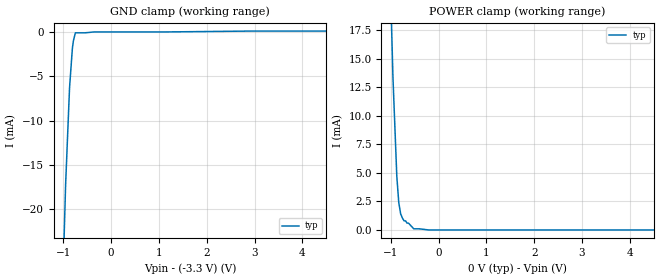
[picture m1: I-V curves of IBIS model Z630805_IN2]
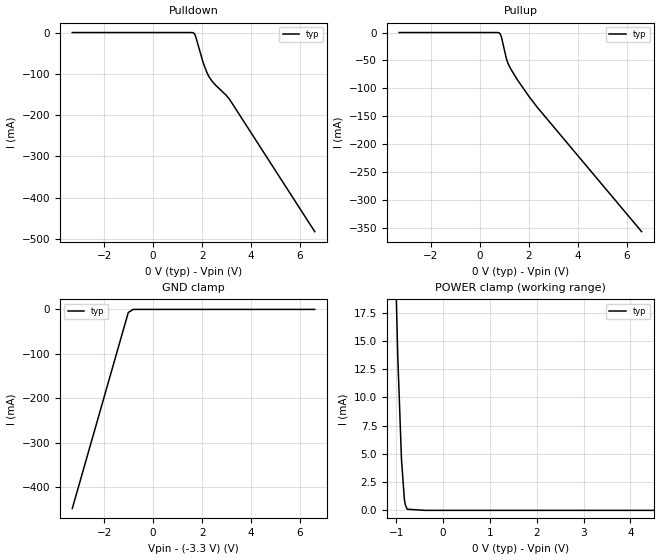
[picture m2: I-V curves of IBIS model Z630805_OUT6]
| YOU ARE ONLY AUTHORIZED TO USE THIS SOFTWARE
| ACCORDING TO LICENSOR'S LICENSE RESTRICTIONS.
[IBIS Ver] 3.1
[File Name] mc100ep116fa_-33.ibs
[File Rev] 1.0
[Source] Derived from MC10EP195 and mc10ep16d_33.ibs Measured
|   data by ICX Technology
[Date] 1/13/2004
[Copyright]
| (C) COPYRIGHT 1993-2001
| MENTOR GRAPHICS CORPORATION
| ICX STANDARD LIBRARY, ICX PROJECT MODELING,
| ICX CUSTOM MODELING, ICX VENDOR MODEL
| ALL RIGHTS RESERVED.
| THE FOLLOWING ARE TRADEMARKS OR SERVICE MARKS OF
| MENTOR GRAPHICS CORPORATION:ICX (R), ICX STANDARD
| LIBRARY(R), ICX PROJECT MODELING(R), ICX CUSTOM
| MODELING(R), qualityIBIS(TM), MODELVIEWER(TM),
| AND MODELEDITOR(TM)
| ALL COPIES OF SOFTWARE, INCLUDING BUT NOT LIMITED TO
| ANY MODIFICATIONS, ENHANCEMENTS OR DERIVATIVE WORKS,
| MUST CONTAIN ALL MENTOR GRAPHICS CORPORATION'S
| NOTICES AND LEGENDS, INCLUDING THOSE EMBEDDED IN
| SOFTWARE AND THOSE AFFIXED TO SOFTWARE MEDIUM
| AND CONTAINER, AS RECEIVED FROM MENTOR GRAPHICS
| CORPORATION.
|  ZAP Model Builder 3.1
[Component] MC100ep116FA_-33
[Manufacturer] On Semiconductor
[Package]
| variable   typ   min   max
R_pkg  .067ohms NA NA
L_pkg  4.211nH NA NA
C_pkg  1.07pF NA NA
[Pin] signal_name  model_name  R_pin  L_pin C_pin
1   D0 Z630805_IN2 .066 4.127n .978p
2  _D0 Z630805_IN2 .066 4.127n .978p
3  VBB POWER .069 4.455n 1.077p
4   Q0 Z630805_OUT6 .069 4.455n 1.077p
5  _Q0 Z630805_OUT6 .069 4.455n 1.077p
6   Q1 Z630805_OUT6 .069 4.455n 1.077p
7  _Q1 Z630805_OUT6 .069 4.455n 1.077p
8  VEE POWER .065 3.973n .928p
9  VCC POWER .069 4.455n 1.077p
10  Q2 Z630805_OUT6 .069 4.455n 1.077p
11 _Q2 Z630805_OUT6 .069 4.455n 1.077p
12 VCC POWER .069 4.455n 1.077p
13 VCC POWER .069 4.455n 1.077p
14  Q3 Z630805_OUT6 .069 4.455n 1.077p
15 _Q3 Z630805_OUT6 .069 4.455n 1.077p
16 VCC POWER .069 4.455n 1.077p
17 VCC POWER .069 4.455n 1.077p
18  Q4 Z630805_OUT6 .069 4.455n 1.077p
19 _Q4 Z630805_OUT6 .069 4.455n 1.077p
20  Q5 Z630805_IN2 .066 4.127n .978p
21 _Q5 Z630805_IN2 .066 4.127n .978p
22  D5 Z630805_IN2 .066 4.127n .978p
23 _D5 Z630805_IN2 .066 4.127n .978p
24  D4 Z630805_IN2 .066 4.127n .978p
25 _D4 Z630805_IN2 .066 4.127n .978p
26  D3 Z630805_IN2 .066 4.127n .978p
27 _D3 Z630805_IN2 .066 4.127n .978p
28 VCC POWER .069 4.455n 1.077p
29  D2 Z630805_IN2 .066 4.127n .978p
30 _D2 Z630805_IN2 .066 4.127n .978p
31  D1 Z630805_IN2 .066 4.127n .978p
32 _D1 Z630805_IN2 .066 4.127n .978p
[Diff Pin] inv_pin vdiff tdelay_typ tdelay_min tdelay_max
1 2 150mv NA NA NA
4 5 NA 0.260ns 0.160ns 0.340ns
6 7 NA 0.260ns 0.160ns 0.340ns
10 11 NA 0.260ns 0.160ns 0.340ns
14 15 NA 0.260ns 0.160ns 0.340ns
18 19 NA 0.260ns 0.160ns 0.340ns
20 21 NA 0.260ns 0.160ns 0.340ns
22 23 150mv NA NA NA
24 25 150mv NA NA NA
26 27 150mv NA NA NA
29 30 150mv NA NA NA
31 32 150mv NA NA NA
| Models and submodels in the file (2): Z630805_IN2 (Input_ECL), Z630805_OUT6 (Output_ECL)
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| (C) COPYRIGHT 1993-2001
| MENTOR GRAPHICS CORPORATION
| ICX STANDARD LIBRARY, ICX PROJECT MODELING,
| ICX CUSTOM MODELING, ICX VENDOR MODEL
| ALL RIGHTS RESERVED.
| THE FOLLOWING ARE TRADEMARKS OR SERVICE MARKS OF
| MENTOR GRAPHICS CORPORATION:ICX (R), ICX STANDARD
| LIBRARY(R), ICX PROJECT MODELING(R), ICX CUSTOM
| MODELING(R), qualityIBIS(TM), MODELVIEWER(TM),
| AND MODELEDITOR(TM)
| ALL COPIES OF SOFTWARE, INCLUDING BUT NOT LIMITED TO
| ANY MODIFICATIONS, ENHANCEMENTS OR DERIVATIVE WORKS,
| MUST CONTAIN ALL MENTOR GRAPHICS CORPORATION'S
| NOTICES AND LEGENDS, INCLUDING THOSE EMBEDDED IN
| SOFTWARE AND THOSE AFFIXED TO SOFTWARE MEDIUM
| AND CONTAINER, AS RECEIVED FROM MENTOR GRAPHICS
| CORPORATION.
| Model Application Version 1.89 2/18/99.
[Model] Z630805_IN2
Model_type Input_ECL
Vinl = -1.645V
Vinh = -1.225V
C_comp 2.00pF NA NA
| variable typ   min   max
[Voltage Range] -3.300V NA NA
[GND Clamp Reference] -3.300V NA NA
[POWER Clamp Reference] 0.000V NA NA
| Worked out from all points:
|   GND clamp passes 1 mA (typ) near -0.79 V on its own axis
|   POWER clamp passes 1 mA (typ) near -0.75 V on its own axis
[GND Clamp]
-3.3V     -459.2mA   NA         NA
-953mV    -17.2mA    NA         NA
-871mV    -6.3mA     NA         NA
-811mV    -1.8mA     NA         NA
-790mV    -1mA       NA         NA
-749.8mV  -100uA     NA         NA
-552.3mV  -100uA     NA         NA
-354.8mV  0A         NA         NA
1.136V    0A         NA         NA
2.96V     100uA      NA         NA
6.6V      100uA      NA         NA
[POWER Clamp]
-3.3V     452.1mA    NA         NA
-1.058V   29mA       NA         NA
-957mV    13.4mA     NA         NA
-876mV    4.7mA      NA         NA
-835mV    2.4mA      NA         NA
-795mV    1.4mA      NA         NA
-754mV    1mA        NA         NA
-723.5mV  800uA      NA         NA
-632mV    600uA      NA         NA
-520.5mV  100uA      NA         NA
-204.5mV  0A         NA         NA
6.6V      0A         NA         NA
| (C) COPYRIGHT 1993-2001
| MENTOR GRAPHICS CORPORATION
| ICX STANDARD LIBRARY, ICX PROJECT MODELING,
| ICX CUSTOM MODELING, ICX VENDOR MODEL
| ALL RIGHTS RESERVED.
| THE FOLLOWING ARE TRADEMARKS OR SERVICE MARKS OF
| MENTOR GRAPHICS CORPORATION:ICX (R), ICX STANDARD
| LIBRARY(R), ICX PROJECT MODELING(R), ICX CUSTOM
| MODELING(R), qualityIBIS(TM), MODELVIEWER(TM),
| AND MODELEDITOR(TM)
| ALL COPIES OF SOFTWARE, INCLUDING BUT NOT LIMITED TO
| ANY MODIFICATIONS, ENHANCEMENTS OR DERIVATIVE WORKS,
| MUST CONTAIN ALL MENTOR GRAPHICS CORPORATION'S
| NOTICES AND LEGENDS, INCLUDING THOSE EMBEDDED IN
| SOFTWARE AND THOSE AFFIXED TO SOFTWARE MEDIUM
| AND CONTAINER, AS RECEIVED FROM MENTOR GRAPHICS
| CORPORATION.
| Model Application Version 1.89 2/18/99.
[Model] Z630805_OUT6
Model_type Output_ECL
Vref=-2.000V
Rref=50.00ohms
Cref=0.000F
Vmeas=-1.345V
C_comp 2.00pF NA NA
| variable typ   min   max
[Voltage Range] -3.300V NA NA
[POWER Clamp Reference] 0.000V NA NA
[Pullup Reference] 0.000V NA NA
[Pulldown Reference] 0.000V NA NA
[GND Clamp Reference] -3.300V NA NA
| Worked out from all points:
|   GND clamp passes 1 mA (typ) near -0.84 V on its own axis
|   POWER clamp passes 1 mA (typ) near -0.83 V on its own axis
[GND Clamp]
-3.3V     -448.2mA   NA         NA
-1.014V   -7.007mA   NA         NA
-811.2mV  0A         NA         NA
6.6V      0A         NA         NA
[Pulldown]
-3.3V     0A         NA         NA
1.557V    0A         NA         NA
1.679V    -2.3mA     NA         NA
1.719V    -6.5mA     NA         NA
1.76V     -14.1mA    NA         NA
2.043V    -72.9mA    NA         NA
2.185V    -95.2mA    NA         NA
2.286V    -107.5mA   NA         NA
2.55V     -127.4mA   NA         NA
2.976V    -151.5mA   NA         NA
3.118V    -161.5mA   NA         NA
6.6V      -482.3mA   NA         NA
[Pullup]
-3.3V     0A         NA         NA
711mV     0A         NA         NA
771mV     -400uA     NA         NA
812mV     -1.5mA     NA         NA
873mV     -7.3mA     NA         NA
1.075V    -46.2mA    NA         NA
1.136V    -54.4mA    NA         NA
1.237V    -63.7mA    NA         NA
1.521V    -84.2mA    NA         NA
2.008V    -114.9mA   NA         NA
2.352V    -134.5mA   NA         NA
6.6V      -356.4mA   NA         NA
[POWER Clamp]
-3.3V     411.5mA    NA         NA
-972mV    13.8mA     NA         NA
-891mV    4.5mA      NA         NA
-830mV    1mA        NA         NA
-810mV    500uA      NA         NA
-769mV    100uA      NA         NA
-384.5mV  0A         NA         NA
6.6V      0A         NA         NA
[Ramp]
| variable typ min max
dV/dt_r 348.9m/182.84p NA NA
dV/dt_f 348.9m/194.91p NA NA
R_load = 50.00Ohms
